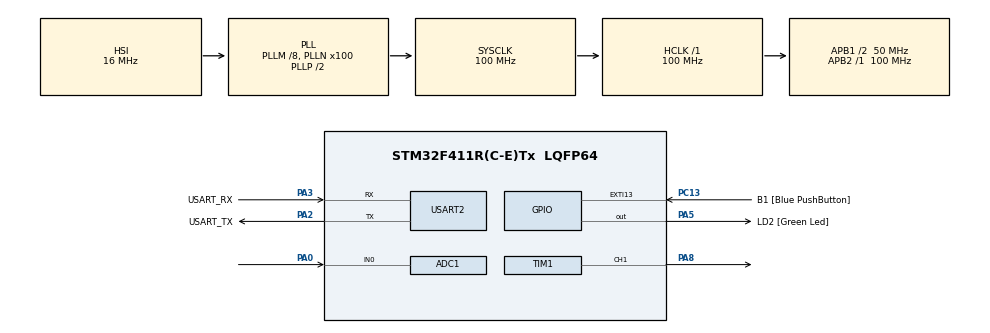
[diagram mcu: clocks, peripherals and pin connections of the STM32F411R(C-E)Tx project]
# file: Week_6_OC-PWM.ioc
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ADC1.Channel-0\#ChannelRegularConversion=ADC_CHANNEL_0
ADC1.ExternalTrigConv=ADC_EXTERNALTRIGCONV_T3_TRGO
ADC1.InjNumberOfConversion=0
ADC1.NbrOfConversionFlag=1
ADC1.Rank-0\#ChannelRegularConversion=1
ADC1.SamplingTime-0\#ChannelRegularConversion=ADC_SAMPLETIME_56CYCLES
ADC1.master=1
Mcu.Family=STM32F4
Mcu.Name=STM32F411R(C-E)Tx
Mcu.Package=LQFP64
NVIC.ADC_IRQn=true\:0\:0\:false\:false\:true\:true\:true
NVIC.PriorityGroup=NVIC_PRIORITYGROUP_0
NVIC.TIM1_TRG_COM_TIM11_IRQn=true\:0\:0\:false\:false\:true\:true\:true
PA0-WKUP.Signal=ADCx_IN0
PA13.GPIO_Label=TMS
PA13.Mode=Serial_Wire
PA13.Signal=SYS_JTMS-SWDIO
PA14.GPIO_Label=TCK
PA14.Mode=Serial_Wire
PA14.Signal=SYS_JTCK-SWCLK
PA2.GPIO_Label=USART_TX
PA2.Mode=Asynchronous
PA2.Signal=USART2_TX
PA3.GPIO_Label=USART_RX
PA3.Mode=Asynchronous
PA3.Signal=USART2_RX
PA5.GPIO_Label=LD2 [Green Led]
PA5.Signal=GPIO_Output
PA8.Signal=S_TIM1_CH1
PB3.GPIO_Label=SWO
PB3.Signal=SYS_JTDO-SWO
PC13-ANTI_TAMP.GPIO_Label=B1 [Blue PushButton]
PC13-ANTI_TAMP.GPIO_ModeDefaultEXTI=GPIO_MODE_IT_FALLING
PC13-ANTI_TAMP.Signal=GPXTI13
PC14-OSC32_IN.Mode=LSE-External-Oscillator
PC14-OSC32_IN.Signal=RCC_OSC32_IN
PC15-OSC32_OUT.Mode=LSE-External-Oscillator
PC15-OSC32_OUT.Signal=RCC_OSC32_OUT
PH0\ -\ OSC_IN.Mode=HSE-External-Clock-Source
PH0\ -\ OSC_IN.Signal=RCC_OSC_IN
PH1\ -\ OSC_OUT.Mode=HSE-External-Clock-Source
PH1\ -\ OSC_OUT.Signal=RCC_OSC_OUT
ProjectManager.HeapSize=0x200
ProjectManager.StackSize=0x400
ProjectManager.TargetToolchain=STM32CubeIDE
RCC.48MHZClocksFreq_Value=50000000
RCC.AHBFreq_Value=100000000
RCC.APB1CLKDivider=RCC_HCLK_DIV2
RCC.APB1Freq_Value=50000000
RCC.APB1TimFreq_Value=100000000
RCC.APB2Freq_Value=100000000
RCC.APB2TimFreq_Value=100000000
RCC.CortexFreq_Value=100000000
RCC.FLatency-AdvancedSettings=FLASH_LATENCY_3
RCC.HCLKFreq_Value=100000000
RCC.HSE_VALUE=8000000
RCC.HSI_VALUE=16000000
RCC.PLLM=8
RCC.PLLN=100
RCC.SYSCLKFreq_VALUE=100000000
RCC.SYSCLKSource=RCC_SYSCLKSOURCE_PLLCLK
RCC.VCOOutputFreq_Value=200000000
SH.ADCx_IN0.0=ADC1_IN0,IN0
SH.S_TIM1_CH1.0=TIM1_CH1,PWM Generation1 CH1
TIM1.Channel-PWM\ Generation1\ CH1=TIM_CHANNEL_1
TIM1.OC1Preload_PWM=ENABLE
TIM1.Period=10000
TIM11.Prescaler=99
TIM3.Period=1000
TIM3.Prescaler=99
TIM3.TIM_MasterOutputTrigger=TIM_TRGO_UPDATE
USART2.VirtualMode=VM_ASYNC
VP_TIM11_VS_ClockSourceINT.Mode=Enable_Timer
VP_TIM1_VS_ClockSourceINT.Mode=Internal
VP_TIM3_VS_ClockSourceINT.Mode=Internal
board=NUCLEO-F411RE

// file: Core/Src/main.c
/* USER CODE BEGIN Header */
/**
 ******************************************************************************
 * @file           : main.c
 * @brief          : Main program body
 ******************************************************************************
 * @attention
 *
 * <h2><center>&copy; Copyright (c) 2021 STMicroelectronics.
 * All rights reserved.</center></h2>
 *
 * This software component is licensed by ST under BSD 3-Clause license,
 * the "License"; You may not use this file except in compliance with the
 * License. You may obtain a copy of the License at:
 *                        opensource.org/licenses/BSD-3-Clause
 *
 ******************************************************************************
 */
/* USER CODE END Header */
#include "main.h"

ADC_HandleTypeDef hadc1;

TIM_HandleTypeDef htim1;
TIM_HandleTypeDef htim3;
TIM_HandleTypeDef htim11;

UART_HandleTypeDef huart2;

/* USER CODE BEGIN PV */

uint8_t ADCUpdateFlag = 0;
// Store ADC Value
uint16_t ADCFeedBack = 0;

// PWM Compare set (0 - 10000)
uint16_t PWMOut = 3000;

// Timer
uint64_t _micro = 0;
uint64_t TimeOutputLoop = 0;

// Control
float Kp = 5;
float Voltage = 0; // V
float Voltage_Set = 1; // V
float VoltageError = 0; // V

/* USER CODE END PV */

void SystemClock_Config(void);
static void MX_GPIO_Init(void);
static void MX_USART2_UART_Init(void);
static void MX_ADC1_Init(void);
static void MX_TIM3_Init(void);
static void MX_TIM1_Init(void);
static void MX_TIM11_Init(void);
/* USER CODE BEGIN PFP */
uint64_t micros();
/* USER CODE END PFP */

int main(void)
{

  /* MCU Configuration--------------------------------------------------------*/

  /* Reset of all peripherals, Initializes the Flash interface and the Systick. */
  HAL_Init();

  /* Configure the system clock */
  SystemClock_Config();

  /* Initialize all configured peripherals */
  MX_GPIO_Init();
  MX_USART2_UART_Init();
  MX_ADC1_Init();
  MX_TIM3_Init();
  MX_TIM1_Init();
  MX_TIM11_Init();
  /* USER CODE BEGIN 2 */
  	// Start ADC
	HAL_ADC_Start_IT(&hadc1);
	HAL_TIM_Base_Start(&htim3);

	// Start PWM
	HAL_TIM_Base_Start(&htim1);
	HAL_TIM_PWM_Start(&htim1, TIM_CHANNEL_1);

	// Start Timer (_micros)
	HAL_TIM_Base_Start_IT(&htim11);

  /* USER CODE END 2 */

  /* Infinite loop */
	while (1)
	{

    /* USER CODE BEGIN 3 */

		//1 Khz Loop
		if (micros() - TimeOutputLoop > 1000)
		{
			TimeOutputLoop = micros();

			// P Control
			// https://en.wikipedia.org/wiki/Proportional_control
			// Pout = P0 + (Kp * e(t))
			// e(t) = SetPoint - ProcessValue
			VoltageError = Voltage_Set - Voltage;
			PWMOut = PWMOut + (Kp * VoltageError);

			__HAL_TIM_SET_COMPARE(&htim1, TIM_CHANNEL_1, PWMOut);

		}

		if (ADCUpdateFlag)
		{
			ADCUpdateFlag = 0;
		}

	}
  /* USER CODE END 3 */
}

void SystemClock_Config(void)
{
  RCC_OscInitTypeDef RCC_OscInitStruct = {0};
  RCC_ClkInitTypeDef RCC_ClkInitStruct = {0};

  /** Configure the main internal regulator output voltage
  */
  __HAL_RCC_PWR_CLK_ENABLE();
  __HAL_PWR_VOLTAGESCALING_CONFIG(PWR_REGULATOR_VOLTAGE_SCALE1);
  /** Initializes the RCC Oscillators according to the specified parameters
  * in the RCC_OscInitTypeDef structure.
  */
  RCC_OscInitStruct.OscillatorType = RCC_OSCILLATORTYPE_HSI;
  RCC_OscInitStruct.HSIState = RCC_HSI_ON;
  RCC_OscInitStruct.HSICalibrationValue = RCC_HSICALIBRATION_DEFAULT;
  RCC_OscInitStruct.PLL.PLLState = RCC_PLL_ON;
  RCC_OscInitStruct.PLL.PLLSource = RCC_PLLSOURCE_HSI;
  RCC_OscInitStruct.PLL.PLLM = 8;
  RCC_OscInitStruct.PLL.PLLN = 100;
  RCC_OscInitStruct.PLL.PLLP = RCC_PLLP_DIV2;
  RCC_OscInitStruct.PLL.PLLQ = 4;
  if (HAL_RCC_OscConfig(&RCC_OscInitStruct) != HAL_OK)
  {
    Error_Handler();
  }
  /** Initializes the CPU, AHB and APB buses clocks
  */
  RCC_ClkInitStruct.ClockType = RCC_CLOCKTYPE_HCLK|RCC_CLOCKTYPE_SYSCLK
                              |RCC_CLOCKTYPE_PCLK1|RCC_CLOCKTYPE_PCLK2;
  RCC_ClkInitStruct.SYSCLKSource = RCC_SYSCLKSOURCE_PLLCLK;
  RCC_ClkInitStruct.AHBCLKDivider = RCC_SYSCLK_DIV1;
  RCC_ClkInitStruct.APB1CLKDivider = RCC_HCLK_DIV2;
  RCC_ClkInitStruct.APB2CLKDivider = RCC_HCLK_DIV1;

  if (HAL_RCC_ClockConfig(&RCC_ClkInitStruct, FLASH_LATENCY_3) != HAL_OK)
  {
    Error_Handler();
  }
}

static void MX_ADC1_Init(void)
{

  ADC_ChannelConfTypeDef sConfig = {0};

  /** Configure the global features of the ADC (Clock, Resolution, Data Alignment and number of conversion)
  */
  hadc1.Instance = ADC1;
  hadc1.Init.ClockPrescaler = ADC_CLOCK_SYNC_PCLK_DIV4;
  hadc1.Init.Resolution = ADC_RESOLUTION_12B;
  hadc1.Init.ScanConvMode = DISABLE;
  hadc1.Init.ContinuousConvMode = DISABLE;
  hadc1.Init.DiscontinuousConvMode = DISABLE;
  hadc1.Init.ExternalTrigConvEdge = ADC_EXTERNALTRIGCONVEDGE_RISING;
  hadc1.Init.ExternalTrigConv = ADC_EXTERNALTRIGCONV_T3_TRGO;
  hadc1.Init.DataAlign = ADC_DATAALIGN_RIGHT;
  hadc1.Init.NbrOfConversion = 1;
  hadc1.Init.DMAContinuousRequests = DISABLE;
  hadc1.Init.EOCSelection = ADC_EOC_SINGLE_CONV;
  if (HAL_ADC_Init(&hadc1) != HAL_OK)
  {
    Error_Handler();
  }
  /** Configure for the selected ADC regular channel its corresponding rank in the sequencer and its sample time.
  */
  sConfig.Channel = ADC_CHANNEL_0;
  sConfig.Rank = 1;
  sConfig.SamplingTime = ADC_SAMPLETIME_56CYCLES;
  if (HAL_ADC_ConfigChannel(&hadc1, &sConfig) != HAL_OK)
  {
    Error_Handler();
  }

}

static void MX_TIM1_Init(void)
{

  TIM_ClockConfigTypeDef sClockSourceConfig = {0};
  TIM_MasterConfigTypeDef sMasterConfig = {0};
  TIM_OC_InitTypeDef sConfigOC = {0};
  TIM_BreakDeadTimeConfigTypeDef sBreakDeadTimeConfig = {0};

  htim1.Instance = TIM1;
  htim1.Init.Prescaler = 0;
  htim1.Init.CounterMode = TIM_COUNTERMODE_UP;
  htim1.Init.Period = 10000;
  htim1.Init.ClockDivision = TIM_CLOCKDIVISION_DIV1;
  htim1.Init.RepetitionCounter = 0;
  htim1.Init.AutoReloadPreload = TIM_AUTORELOAD_PRELOAD_DISABLE;
  if (HAL_TIM_Base_Init(&htim1) != HAL_OK)
  {
    Error_Handler();
  }
  sClockSourceConfig.ClockSource = TIM_CLOCKSOURCE_INTERNAL;
  if (HAL_TIM_ConfigClockSource(&htim1, &sClockSourceConfig) != HAL_OK)
  {
    Error_Handler();
  }
  if (HAL_TIM_PWM_Init(&htim1) != HAL_OK)
  {
    Error_Handler();
  }
  sMasterConfig.MasterOutputTrigger = TIM_TRGO_RESET;
  sMasterConfig.MasterSlaveMode = TIM_MASTERSLAVEMODE_DISABLE;
  if (HAL_TIMEx_MasterConfigSynchronization(&htim1, &sMasterConfig) != HAL_OK)
  {
    Error_Handler();
  }
  sConfigOC.OCMode = TIM_OCMODE_PWM1;
  sConfigOC.Pulse = 0;
  sConfigOC.OCPolarity = TIM_OCPOLARITY_HIGH;
  sConfigOC.OCNPolarity = TIM_OCNPOLARITY_HIGH;
  sConfigOC.OCFastMode = TIM_OCFAST_DISABLE;
  sConfigOC.OCIdleState = TIM_OCIDLESTATE_RESET;
  sConfigOC.OCNIdleState = TIM_OCNIDLESTATE_RESET;
  if (HAL_TIM_PWM_ConfigChannel(&htim1, &sConfigOC, TIM_CHANNEL_1) != HAL_OK)
  {
    Error_Handler();
  }
  sBreakDeadTimeConfig.OffStateRunMode = TIM_OSSR_DISABLE;
  sBreakDeadTimeConfig.OffStateIDLEMode = TIM_OSSI_DISABLE;
  sBreakDeadTimeConfig.LockLevel = TIM_LOCKLEVEL_OFF;
  sBreakDeadTimeConfig.DeadTime = 0;
  sBreakDeadTimeConfig.BreakState = TIM_BREAK_DISABLE;
  sBreakDeadTimeConfig.BreakPolarity = TIM_BREAKPOLARITY_HIGH;
  sBreakDeadTimeConfig.AutomaticOutput = TIM_AUTOMATICOUTPUT_DISABLE;
  if (HAL_TIMEx_ConfigBreakDeadTime(&htim1, &sBreakDeadTimeConfig) != HAL_OK)
  {
    Error_Handler();
  }
  HAL_TIM_MspPostInit(&htim1);

}

static void MX_TIM3_Init(void)
{

  TIM_ClockConfigTypeDef sClockSourceConfig = {0};
  TIM_MasterConfigTypeDef sMasterConfig = {0};

  htim3.Instance = TIM3;
  htim3.Init.Prescaler = 99;
  htim3.Init.CounterMode = TIM_COUNTERMODE_UP;
  htim3.Init.Period = 1000;
  htim3.Init.ClockDivision = TIM_CLOCKDIVISION_DIV1;
  htim3.Init.AutoReloadPreload = TIM_AUTORELOAD_PRELOAD_DISABLE;
  if (HAL_TIM_Base_Init(&htim3) != HAL_OK)
  {
    Error_Handler();
  }
  sClockSourceConfig.ClockSource = TIM_CLOCKSOURCE_INTERNAL;
  if (HAL_TIM_ConfigClockSource(&htim3, &sClockSourceConfig) != HAL_OK)
  {
    Error_Handler();
  }
  sMasterConfig.MasterOutputTrigger = TIM_TRGO_UPDATE;
  sMasterConfig.MasterSlaveMode = TIM_MASTERSLAVEMODE_DISABLE;
  if (HAL_TIMEx_MasterConfigSynchronization(&htim3, &sMasterConfig) != HAL_OK)
  {
    Error_Handler();
  }

}

static void MX_TIM11_Init(void)
{

  htim11.Instance = TIM11;
  htim11.Init.Prescaler = 99;
  htim11.Init.CounterMode = TIM_COUNTERMODE_UP;
  htim11.Init.Period = 65535;
  htim11.Init.ClockDivision = TIM_CLOCKDIVISION_DIV1;
  htim11.Init.AutoReloadPreload = TIM_AUTORELOAD_PRELOAD_DISABLE;
  if (HAL_TIM_Base_Init(&htim11) != HAL_OK)
  {
    Error_Handler();
  }

}

static void MX_USART2_UART_Init(void)
{

  huart2.Instance = USART2;
  huart2.Init.BaudRate = 115200;
  huart2.Init.WordLength = UART_WORDLENGTH_8B;
  huart2.Init.StopBits = UART_STOPBITS_1;
  huart2.Init.Parity = UART_PARITY_NONE;
  huart2.Init.Mode = UART_MODE_TX_RX;
  huart2.Init.HwFlowCtl = UART_HWCONTROL_NONE;
  huart2.Init.OverSampling = UART_OVERSAMPLING_16;
  if (HAL_UART_Init(&huart2) != HAL_OK)
  {
    Error_Handler();
  }

}

static void MX_GPIO_Init(void)
{
  GPIO_InitTypeDef GPIO_InitStruct = {0};

  /* GPIO Ports Clock Enable */
  __HAL_RCC_GPIOC_CLK_ENABLE();
  __HAL_RCC_GPIOH_CLK_ENABLE();
  __HAL_RCC_GPIOA_CLK_ENABLE();
  __HAL_RCC_GPIOB_CLK_ENABLE();

  /*Configure GPIO pin Output Level */
  HAL_GPIO_WritePin(LD2_GPIO_Port, LD2_Pin, GPIO_PIN_RESET);

  /*Configure GPIO pin : B1_Pin */
  GPIO_InitStruct.Pin = B1_Pin;
  GPIO_InitStruct.Mode = GPIO_MODE_IT_FALLING;
  GPIO_InitStruct.Pull = GPIO_NOPULL;
  HAL_GPIO_Init(B1_GPIO_Port, &GPIO_InitStruct);

  /*Configure GPIO pin : LD2_Pin */
  GPIO_InitStruct.Pin = LD2_Pin;
  GPIO_InitStruct.Mode = GPIO_MODE_OUTPUT_PP;
  GPIO_InitStruct.Pull = GPIO_NOPULL;
  GPIO_InitStruct.Speed = GPIO_SPEED_FREQ_LOW;
  HAL_GPIO_Init(LD2_GPIO_Port, &GPIO_InitStruct);

}

/* USER CODE BEGIN 4 */

void HAL_ADC_ConvCpltCallback(ADC_HandleTypeDef *hadc)
{
	ADCFeedBack = HAL_ADC_GetValue(&hadc1);
	ADCUpdateFlag = 1;
	Voltage = (ADCFeedBack*3.3)/4096;
}
void HAL_TIM_PeriodElapsedCallback(TIM_HandleTypeDef *htim)
{
	if (htim == &htim11)
	{
		_micro += 65535;
	}
}

__inline__ uint64_t micros() {
	return _micro + htim11.Instance->CNT;
}
/* USER CODE END 4 */

void Error_Handler(void)
{
	__disable_irq();
	while (1) {
	}
}

/************************ (C) COPYRIGHT STMicroelectronics *****END OF FILE****/
